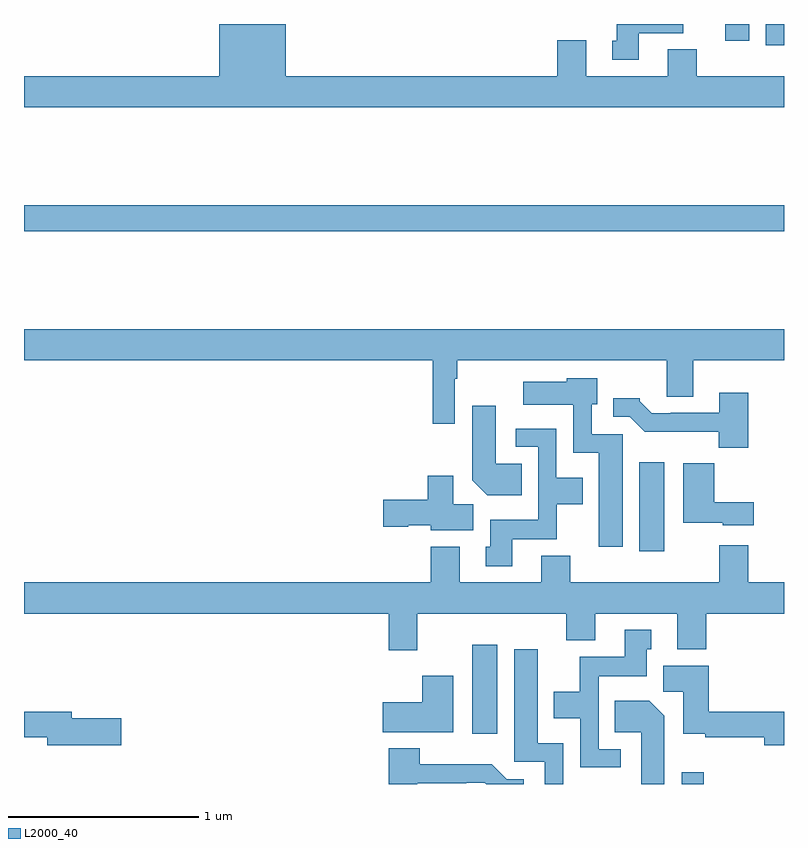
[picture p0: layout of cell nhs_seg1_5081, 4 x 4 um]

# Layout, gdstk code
import gdstk
lib = gdstk.Library(unit=1e-6, precision=1e-09)
def R(c, l, rs):  # rectangles x0, y0, x1, y1
    for r in rs: c.add(gdstk.rectangle(r[:2], r[2:], *l))
def P(c, l, *ps):  # polygons
    for p in ps: c.add(gdstk.Polygon(p, *l))
L2000_40 = (2000, 40)

nhs_seg1_5081 = lib.new_cell('nhs_seg1_5081')
R(nhs_seg1_5081, L2000_40, [(390.462,520.199,390.578,520.261), (389.36,520.464,389.491,520.933), (390.239,521.424,390.37,521.893), (387,523.108,391,523.244), (390.905,524.088,391,524.199), (390.692,524.112,390.817,524.199), (389.808,524.198,390.031,524.199)])
P(nhs_seg1_5081, L2000_40, [(391,523.924),(390.542,523.924),(390.542,524.065),(390.389,524.065),(390.389,523.924),(389.959,523.924),(389.959,524.113),(389.807,524.113),(389.807,523.924),(388.378,523.924),(388.378,524.199),(388.028,524.199),(388.028,523.924),(387,523.924),(387,523.76),(391,523.76)],
  [(390.235,524.15),(390.471,524.15),(390.471,524.199),(390.119,524.199),(390.119,524.112),(390.095,524.112),(390.095,524.01),(390.235,524.01)],
  [(389.268,522.332),(389.281,522.332),(389.281,522.428),(390.383,522.428),(390.383,522.238),(390.523,522.238),(390.523,522.428),(391,522.428),(391,522.592),(387,522.592),(387,522.428),(389.152,522.428),(389.152,522.096),(389.268,522.096)],
  [(390.151,522.039),(389.988,522.039),(389.988,522.198),(390.016,522.198),(390.016,522.334),(389.856,522.334),(389.856,522.316),(389.628,522.316),(389.628,522.194),(389.892,522.194),(389.892,521.942),(390.026,521.942),(390.026,521.448),(390.151,521.448)],
  [(390.812,522.259),(390.659,522.259),(390.659,522.153),(390.403,522.153),(390.403,522.15),(390.304,522.15),(390.24,522.214),(390.24,522.229),(390.101,522.229),(390.101,522.132),(390.189,522.132),(390.268,522.054),(390.657,522.054),(390.657,521.969),(390.812,521.969)],
  [(389.621,521.884),(389.482,521.884),(389.482,522.19),(389.36,522.19),(389.36,521.798),(389.438,521.72),(389.621,521.72)],
  [(389.569,521.486),(389.805,521.486),(389.805,521.672),(389.941,521.672),(389.941,521.812),(389.802,521.812),(389.802,522.069),(389.589,522.069),(389.589,521.973),(389.706,521.973),(389.706,521.59),(389.453,521.59),(389.453,521.448),(389.429,521.448),(389.429,521.346),(389.569,521.346)],
  [(390.841,521.683),(390.632,521.683),(390.632,521.887),(390.47,521.887),(390.47,521.573),(390.678,521.573),(390.678,521.561),(390.841,521.561)],
  [(389.365,521.672),(389.26,521.672),(389.26,521.821),(389.126,521.821),(389.126,521.696),(388.89,521.696),(388.89,521.554),(389.022,521.554),(389.022,521.561),(389.142,521.561),(389.142,521.534),(389.365,521.534)],
  [(389.071,521.096),(389.855,521.096),(389.855,520.955),(390.007,520.955),(390.007,521.096),(390.437,521.096),(390.437,520.907),(390.59,520.907),(390.59,521.096),(391,521.096),(391,521.26),(390.812,521.26),(390.812,521.455),(390.659,521.455),(390.659,521.26),(389.876,521.26),(389.876,521.401),(389.723,521.401),(389.723,521.26),(389.293,521.26),(389.293,521.449),(389.141,521.449),(389.141,521.26),(387,521.26),(387,521.096),(388.919,521.096),(388.919,520.902),(389.071,520.902)],
  [(390.142,520.383),(390.024,520.383),(390.024,520.766),(390.277,520.766),(390.277,520.908),(390.301,520.908),(390.301,521.011),(390.161,521.011),(390.161,520.87),(389.926,520.87),(389.926,520.684),(389.789,520.684),(389.789,520.544),(389.928,520.544),(389.928,520.287),(390.142,520.287)],
  [(389.838,520.414),(389.704,520.414),(389.704,520.909),(389.579,520.909),(389.579,520.317),(389.742,520.317),(389.742,520.199),(389.838,520.199)],
  [(391,520.58),(390.605,520.58),(390.605,520.822),(390.365,520.822),(390.365,520.684),(390.47,520.684),(390.47,520.463),(390.586,520.463),(390.586,520.444),(390.896,520.444),(390.896,520.402),(391,520.402)],
  [(389.26,520.77),(389.096,520.77),(389.096,520.63),(388.887,520.63),(388.887,520.472),(389.26,520.472)],
  [(390.37,520.558),(390.292,520.636),(390.109,520.636),(390.109,520.472),(390.248,520.472),(390.248,520.199),(390.37,520.199)],
  [(387.511,520.544),(387.25,520.544),(387.25,520.58),(387,520.58),(387,520.444),(387.122,520.444),(387.122,520.402),(387.511,520.402)],
  [(389.071,520.203),(389.327,520.203),(389.327,520.206),(389.426,520.206),(389.433,520.199),(389.629,520.199),(389.629,520.224),(389.541,520.224),(389.463,520.303),(389.084,520.303),(389.084,520.387),(388.919,520.387),(388.919,520.199),(389.071,520.199)])

lib.write_gds('nhs_seg1_5081.gds')
